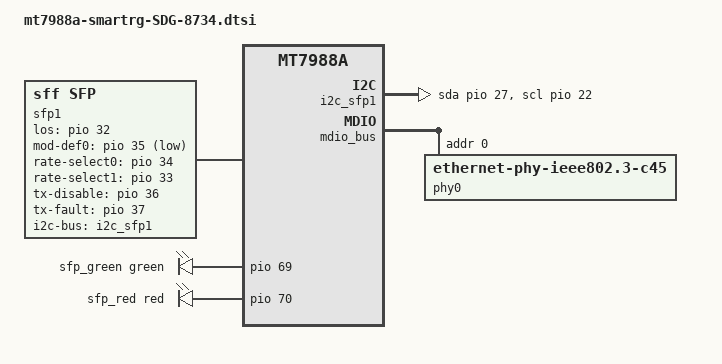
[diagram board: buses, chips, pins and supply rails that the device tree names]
// SPDX-License-Identifier: (GPL-2.0 OR MIT)
/*
 * Copyright (C) 2023 SmartRG Inc.
 * Author: Chad Monroe <chad.monroe@smartrg.com>
 *
 * SDG-8734: Mt. Stuart phase 1 with SFP+ WAN. Shared by SDG-8734
 * and SDG-8734v.
 */

#include "mt7988a-smartrg-mt-stuart-phase1.dtsi"

/ {
	i2c_sfp1: i2c-gpio-0 {
		pinctrl-names = "default";
		pinctrl-0 = <&sfp_i2c_pins>;

		compatible = "i2c-gpio";
		sda-gpios = <&pio 27 (GPIO_ACTIVE_HIGH | GPIO_OPEN_DRAIN)>;
		scl-gpios = <&pio 22 (GPIO_ACTIVE_HIGH | GPIO_OPEN_DRAIN)>;
		i2c-gpio,delay-us = <2>;
		#address-cells = <1>;
		#size-cells = <0>;
	};

	sfp1: sfp1 {
		compatible = "sff,sfp";
		i2c-bus = <&i2c_sfp1>;
		los-gpios = <&pio 32 GPIO_ACTIVE_HIGH>;
		mod-def0-gpios = <&pio 35 GPIO_ACTIVE_LOW>;
		rate-select0-gpios = <&pio 34 GPIO_ACTIVE_HIGH>;
		rate-select1-gpios = <&pio 33 GPIO_ACTIVE_HIGH>;
		tx-disable-gpios = <&pio 36 GPIO_ACTIVE_HIGH>;
		tx-fault-gpios = <&pio 37 GPIO_ACTIVE_HIGH>;
		maximum-power-milliwatt = <4000>;
	};
};

&leds {
	sfp_green {
		color = <LED_COLOR_ID_GREEN>;
		function = "sfp";
		gpios = <&pio 69 GPIO_ACTIVE_HIGH>;
	};

	sfp_red {
		color = <LED_COLOR_ID_RED>;
		function = "sfp";
		gpios = <&pio 70 GPIO_ACTIVE_HIGH>;
	};
};

&gmac1 {
	sfp = <&sfp1>;
	managed = "in-band-status";
};

/* ballast: unstuffed AQR113C WAN PHY, carried from pre-refactor dtb */
&mdio_bus {
	phy0: ethernet-phy@0 {
		/* AQR113C */
		compatible = "ethernet-phy-ieee802.3-c45";
		reg = <0>;
		#thermal-sensor-cells = <0>;

		marvell,led-config = <0xC000 0x60 0x80>;
		marvell,hwmon_temp_high = <90000>;
		marvell,hwmon_temp_crit = <100000>;

		leds {
			#address-cells = <1>;
			#size-cells = <0>;

			led@0 {
				reg = <0>;
				function = LED_FUNCTION_WAN;
				color = <LED_COLOR_ID_GREEN>;
			};

			led@1 {
				reg = <1>;
				function = LED_FUNCTION_WAN;
				color = <LED_COLOR_ID_ORANGE>;
			};

			led@2 {
				reg = <2>;
				function = LED_FUNCTION_WAN;
				color = <LED_COLOR_ID_WHITE>;
				active-high;
			};
		};
	};
};
